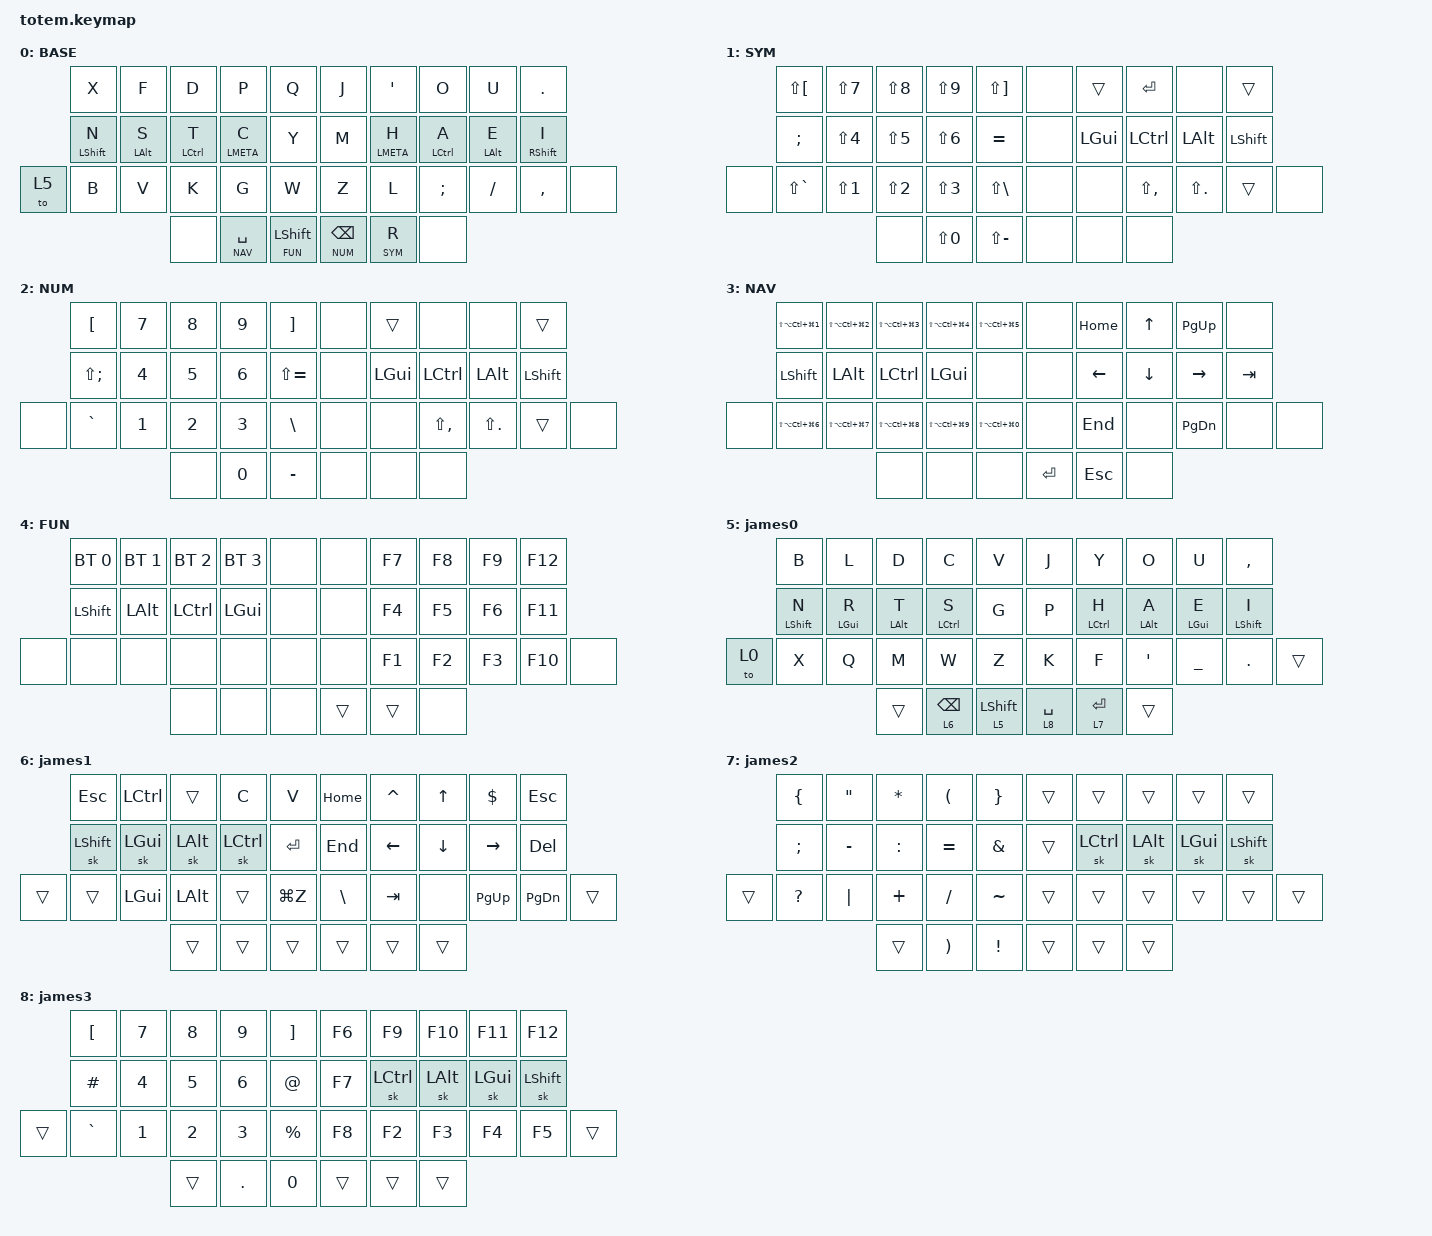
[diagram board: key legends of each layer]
//
//                                                        ▀▀▀▀▀     ▀▀▀▀▀          ▀▀█▀▀
//                                                        ▄▀▀▀▄  ▄  ▄▀▀▀▄  ▄  ▄▀▀▀▄  █  ▄▀▀▀▄
//                                                        █   █  █  █   █  █  █   █  █  █   █
//                                                         ▀▀▀   █   ▀▀▀   █   ▀▀▀   ▀   ▀▀▀
//                                                               █      ▄▄▄█▄▄▄    █   █  
//                                                               ▀      █  █  █     █▄█
//                                                             ▀▀▀▀▀    █  █  █      ▀
//                                                                      ▀  ▀  ▀
//
// e
// ▄▄▄▄▄▄▄▄▄▄▄▄▄▄▄▄▄▄▄▄▄▄▄▄▄▄▄▄▄▄▄▄▄▄▄▄▄▄▄▄▄▄▄▄▄▄▄▄▄▄▄▄▄▄▄▄▄▄▄▄▄▄▄▄▄▄▄▄▄▄▄▄▄▄▄▄▄▄▄▄▄▄▄▄▄▄▄▄▄▄▄▄▄▄▄▄▄▄▄▄▄▄▄▄▄▄▄▄▄▄▄▄▄▄▄▄▄▄▄▄▄▄▄▄▄▄▄▄▄▄▄▄▄▄▄▄▄▄▄▄▄▄▄▄▄▄▄▄▄

#include <behaviors.dtsi>
#include <dt-bindings/zmk/bt.h>
#include <dt-bindings/zmk/keys.h>
#include "key_pos.h"

#define BASE 0
#define SYM  1
#define NUM  2
#define NAV  3
#define FUN  4
#define MISC 5

/ {
    behaviors {
        quick_shift: quick_shift {
            compatible = "zmk,behavior-sticky-key";
            #binding-cells = <1>;
            bindings = <&kp>;
            release-after-ms = <1000>;
            quick-release;
        };

        shft: shft {
            compatible = "zmk,behavior-hold-tap";
            #binding-cells = <2>;
            flavor = "tap-preferred";
            tapping-term-ms = <200>;
            quick-tap-ms = <200>;
            bindings = <&mo>, <&quick_shift>;
        };

        hrm: home_row_mod {
            compatible = "zmk,behavior-hold-tap";
            #binding-cells = <2>;
            flavor = "balanced";
            tapping-term-ms = <200>;
            quick-tap-ms = <200>;
            require-prior-idle-ms = <125>;
            bindings = <&kp>, <&kp>;
        };

        lh: left_home_row {
            compatible = "zmk,behavior-hold-tap";
            #binding-cells = <2>;
            flavor = "balanced";
            tapping-term-ms = <300>;
            quick-tap-ms = <150>;
            bindings = <&kp>, <&kp>;

            require-prior-idle-ms = <150>;
            hold-trigger-on-release;
            hold-trigger-key-positions = <32 33 34 35 36 37 5 6 7 8 9 15 16 17 18 19 26 27 28 29 19 30 31>;
        };

        rh: right_home_row {
            compatible = "zmk,behavior-hold-tap";
            #binding-cells = <2>;
            flavor = "balanced";
            tapping-term-ms = <300>;
            quick-tap-ms = <150>;
            bindings = <&kp>, <&kp>;

            require-prior-idle-ms = <150>;
            hold-trigger-on-release;
            hold-trigger-key-positions = <35 36 37 32 33 34 0 1 2 3 4 10 11 12 13 14 20 21 22 23 24 25 32 33>;
        };

        hlh: hold_layer_hold {
            compatible = "zmk,behavior-hold-tap";
            #binding-cells = <2>;
            flavor = "hold-preferred";
            tapping-term-ms = <200>;
            quick-tap-ms = <200>;
            bindings = <&mo>, <&kp>;
        };

        hlt: hold_layer_tap {
            compatible = "zmk,behavior-hold-tap";
            #binding-cells = <2>;
            flavor = "tap-preferred";
            tapping-term-ms = <200>;
            quick-tap-ms = <200>;
            bindings = <&mo>, <&kp>;
        };
    };

    combos {
        compatible = "zmk,combos";

        caps_word {
            bindings = <&caps_word>;
            key-positions = <10 19>;
            layers = <3>;
        };

        jamescaps {
            bindings = <&caps_word>;
            key-positions = <21 22>;
            layers = <5>;
        };
    };

    keymap {
        compatible = "zmk,keymap";

        base_layer {
            label = "BASE";
            bindings = <
       &kp X        &kp F       &kp D        &kp P           &kp Q              &kp J          &kp SQT      &kp O        &kp U       &kp DOT
       &lh LSHFT N  &lh LALT S  &lh LCTRL T  &lh LMETA C     &kp Y              &kp M          &rh LMETA H  &rh LCTRL A  &rh LALT E  &rh RSHFT I
&to 5  &kp B        &kp V       &kp K        &kp G           &kp W              &kp Z          &kp L        &kp SEMI     &kp FSLH    &kp COMMA    &none
                                &none        &hlt NAV SPACE  &shft FUN LSHFT    &hlh NUM BSPC  &hlt SYM R   &none
            >;
        };

        sym_layer {
            label = "SYM";
            bindings = <
       &kp LS(LBKT)   &kp LS(N7)  &kp LS(N8)  &kp LS(N9)  &kp LS(RBKT)     &none  &trans    &kp RET        &none        &trans
       &kp SEMI       &kp LS(N4)  &kp LS(N5)  &kp LS(N6)  &kp EQUAL        &none  &kp LGUI  &kp LCTRL      &kp LALT     &kp LSHFT
&none  &kp LS(GRAVE)  &kp LS(N1)  &kp LS(N2)  &kp LS(N3)  &kp LS(BSLH)     &none  &none     &kp LS(COMMA)  &kp LS(DOT)  &trans     &none
                                  &none       &kp LS(N0)  &kp LS(MINUS)    &none  &none     &none
            >;
        };

        num_layer {
            label = "NUM";
            bindings = <
       &kp LBKT      &kp N7  &kp N8  &kp N9  &kp RBKT         &none  &trans    &none          &none        &trans
       &kp LS(SEMI)  &kp N4  &kp N5  &kp N6  &kp LS(EQUAL)    &none  &kp LGUI  &kp LCTRL      &kp LALT     &kp LSHFT
&none  &kp GRAVE     &kp N1  &kp N2  &kp N3  &kp BSLH         &none  &none     &kp LS(COMMA)  &kp LS(DOT)  &trans     &none
                             &none   &kp N0  &kp MINUS        &none  &none     &none
            >;
        };

        nav_layer {
            label = "NAV";
            bindings = <
       &kp LS(LA(LC(LG(N1))))  &kp LS(LA(LC(LG(N2))))  &kp LS(LA(LC(LG(N3))))  &kp LS(LA(LC(LG(N4))))  &kp LS(LA(LC(LG(N5))))    &none    &kp HOME  &kp UP    &kp PG_UP  &none
       &kp LSHFT               &kp LALT                &kp LCTRL               &kp LGUI                &none                     &none    &kp LEFT  &kp DOWN  &kp RIGHT  &kp TAB
&none  &kp LS(LA(LC(LG(N6))))  &kp LS(LA(LC(LG(N7))))  &kp LS(LA(LC(LG(N8))))  &kp LS(LA(LC(LG(N9))))  &kp LS(LA(LC(LG(N0))))    &none    &kp END   &none     &kp PG_DN  &none    &none
                                                       &none                   &none                   &none                     &kp RET  &kp ESC   &none
            >;
        };

        fun_layer {
            label = "FUN";
            bindings = <
       &bt BT_SEL 0  &bt BT_SEL 1  &bt BT_SEL 2  &bt BT_SEL 3  &none    &none   &kp F7  &kp F8  &kp F9  &kp F12
       &kp LSHFT     &kp LALT      &kp LCTRL     &kp LGUI      &none    &none   &kp F4  &kp F5  &kp F6  &kp F11
&none  &none         &none         &none         &none         &none    &none   &kp F1  &kp F2  &kp F3  &kp F10  &none
                                   &none         &none         &none    &trans  &trans  &none
            >;
        };

        james0 {
            bindings = <
       &kp B             &kp L           &kp D           &kp C             &kp V            &kp J         &kp Y         &kp O           &kp U           &kp COMMA
       &lh LEFT_SHIFT N  &lh LEFT_GUI R  &lh LEFT_ALT T  &lh LCTRL S       &kp G            &kp P         &rh LCTRL H   &rh LEFT_ALT A  &rh LEFT_GUI E  &rh LEFT_SHIFT I
&to 0  &kp X             &kp Q           &kp M           &kp W             &kp Z            &kp K         &kp F         &kp APOS        &kp UNDERSCORE  &kp DOT           &trans
                                         &trans          &hlt 6 BACKSPACE  &shft 5 LSHFT    &hlt 8 SPACE  &hlh 7 ENTER  &trans
            >;
        };

        james1 {
            bindings = <
        &kp ESC         &kp LCTRL     &trans        &kp C      &kp V        &kp HOME  &kp CARET  &kp UP    &kp DOLLAR  &kp ESC
        &sk LEFT_SHIFT  &sk LEFT_GUI  &sk LEFT_ALT  &sk LCTRL  &kp ENTER    &kp END   &kp LEFT   &kp DOWN  &kp RIGHT   &kp DELETE
&trans  &trans          &kp LEFT_GUI  &kp LEFT_ALT  &trans     &kp LG(Z)    &kp BSLH  &kp TAB    &none     &kp PG_UP   &kp PG_DN   &trans
                                      &trans        &trans     &trans       &trans    &trans     &trans
            >;
        };

        james2 {
            bindings = <
        &kp LEFT_BRACE  &kp DOUBLE_QUOTES  &kp ASTERISK  &kp LPAR   &kp RBRC     &trans  &trans     &trans        &trans        &trans
        &kp SEMI        &kp MINUS          &kp COLON     &kp EQUAL  &kp AMPS     &trans  &sk LCTRL  &sk LEFT_ALT  &sk LEFT_GUI  &sk LEFT_SHIFT
&trans  &kp QUESTION    &kp PIPE           &kp PLUS      &kp FSLH   &kp TILDE    &trans  &trans     &trans        &trans        &trans          &trans
                                           &trans        &kp RPAR   &kp EXCL     &trans  &trans     &trans
            >;
        };

        james3 {
            bindings = <
        &kp LBKT   &kp N7  &kp N8  &kp N9   &kp RBKT       &kp F6  &kp F9     &kp F10       &kp F11       &kp F12
        &kp HASH   &kp N4  &kp N5  &kp N6   &kp AT         &kp F7  &sk LCTRL  &sk LEFT_ALT  &sk LEFT_GUI  &sk LEFT_SHIFT
&trans  &kp GRAVE  &kp N1  &kp N2  &kp N3   &kp PERCENT    &kp F8  &kp F2     &kp F3        &kp F4        &kp F5          &trans
                           &trans  &kp DOT  &kp N0         &trans  &trans     &trans
            >;
        };
    };
};
